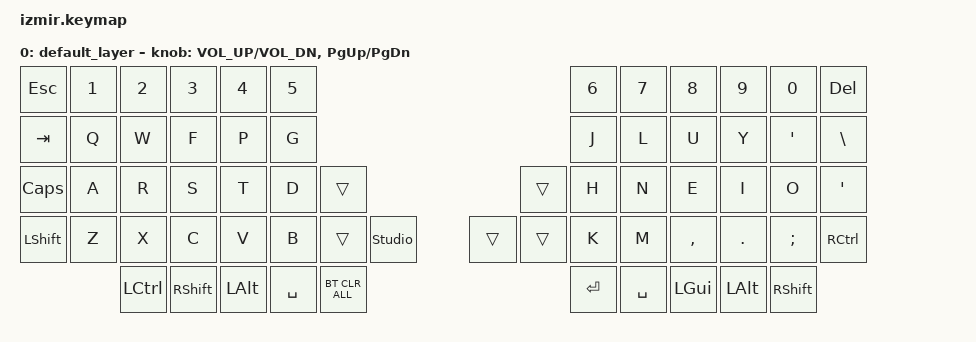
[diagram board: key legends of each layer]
/*
 * Copyright (c) 2025 The ZMK Contributors
 *
 * SPDX-License-Identifier: MIT
 */

#include <behaviors.dtsi>
#include <dt-bindings/zmk/keys.h>
#include <dt-bindings/zmk/bt.h>

// Using layer taps on thumbs, having quick tap as well helps w/ repeating space
&lt {
    tapping-term-ms = <200>;
    quick_tap_ms = <200>;
};



/ {
    behaviors {
        ht: hold_tap {
            compatible = "zmk,behavior-hold-tap";
            #binding-cells = <2>;
            flavor = "tap-preferred";
            tapping-term-ms = <200>;
            quick-tap-ms = <150>;
            bindings = <&kp>, <&kp>;
        };
        
        en_i: en_i {
            compatible = "zmk,behavior-mod-morph";
            #binding-cells = <0>;
            bindings = 
                <&kp SQT>,    // i
                <&kp LS(I)>; // I
            mods = <(MOD_LSFT|MOD_RSFT)>;
        }; 

        tr_i: tr_i {
            compatible = "zmk,behavior-mod-morph";
            #binding-cells = <0>;
            bindings = 
                <&kp I>,        // ı
                <&kp LS(SQT)>; // İ
            mods = <(MOD_LSFT|MOD_RSFT)>;
        };

        en_sqt: en-sqt {
            compatible = "zmk,behavior-mod-morph";
            #binding-cells = <0>;
            bindings =  <&kp LS(N2)>,   // '
                        <&kp GRAVE>;   // "
            mods = <(MOD_LSFT|MOD_RSFT)>;
        };

        en_equal: en_equal {
            compatible = "zmk,behavior-mod-morph";
            #binding-cells = <0>;
            bindings =  <&kp RS(N0)>,   // =
                        <&kp KP_PLUS>; // +
            mods = <(MOD_LSFT|MOD_RSFT)>;
        };

        en_slash: en_slash {
            compatible = "zmk,behavior-mod-morph";
            #binding-cells = <0>;
            bindings =  <&kp RS(N7)>,  // slash
                        < &kp UNDER>; // ?
            mods = <(MOD_LSFT|MOD_RSFT)>;
        };

    };


    keymap {
        compatible = "zmk,keymap";

        // This is a sample keymap intended to be replaced with your own  &studio_unlock
        default_layer {

            bindings = <
            &kp ESC        &kp N1    &kp N2    &kp N3    &kp N4    &kp N5                                                       &kp N6  &kp N7    &kp N8     &kp N9     &kp N0    &kp DEL
            &kp TAB        &kp Q     &kp W     &kp F     &kp P     &kp G                                                        &kp J   &kp L     &kp U      &kp Y      &kp QUOT  &kp BSLH
            &kp CAPS       &kp A     &kp R     &kp S     &kp T     &kp D      &trans                             &trans         &kp H   &kp N     &kp E      &kp I      &kp O     &kp SQT
            &kp LSHFT      &kp Z     &kp X     &kp C     &kp V     &kp B   &trans     &studio_unlock        &trans     &trans   &kp K   &kp M     &kp COMMA  &kp DOT    &kp SEMI  &kp RCTRL
                                     &kp LCTRL &kp RSHFT &kp LALT          &kp SPACE  &bt BT_CLR_ALL                &kp ENTER  &kp SPACE        &kp LGUI  &kp LALT   &kp RSHFT  
            >;

             sensor-bindings = <&inc_dec_kp C_VOL_UP C_VOL_DN &inc_dec_kp PG_UP PG_DN>;
        };

    };
};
